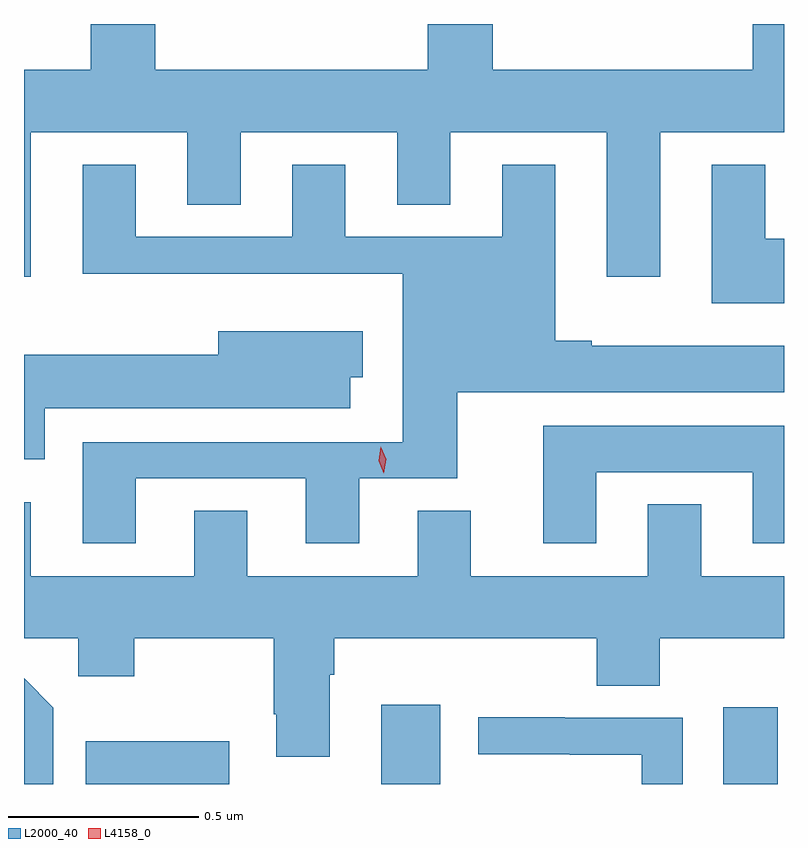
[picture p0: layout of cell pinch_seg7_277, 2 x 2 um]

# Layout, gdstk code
import gdstk
lib = gdstk.Library(unit=1e-6, precision=1e-09)
def R(c, l, rs):  # rectangles x0, y0, x1, y1
    for r in rs: c.add(gdstk.rectangle(r[:2], r[2:], *l))
def P(c, l, *ps):  # polygons
    for p in ps: c.add(gdstk.Polygon(p, *l))
L2000_40 = (2000, 40)
L4158_0 = (4158, 0)

pinch_seg7_277 = lib.new_cell('pinch_seg7_277')
R(pinch_seg7_277, L2000_40, [(801.025,1010.889,801.403,1011.001), (801.803,1010.889,801.958,1011.097), (802.703,1010.889,802.846,1011.091)])
P(pinch_seg7_277, L2000_40, [(800.881,1012.604),(801.293,1012.604),(801.293,1012.414),(801.433,1012.414),(801.433,1012.604),(801.845,1012.604),(801.845,1012.414),(801.985,1012.414),(801.985,1012.604),(802.397,1012.604),(802.397,1012.224),(802.537,1012.224),(802.537,1012.604),(802.863,1012.604),(802.863,1012.889),(802.781,1012.889),(802.781,1012.768),(802.097,1012.768),(802.097,1012.889),(801.926,1012.889),(801.926,1012.768),(801.209,1012.768),(801.209,1012.889),(801.038,1012.889),(801.038,1012.768),(800.863,1012.768),(800.863,1012.224),(800.881,1012.224)],
  [(801.157,1011.693),(801.605,1011.693),(801.605,1011.522),(801.745,1011.522),(801.745,1011.693),(802.003,1011.693),(802.003,1011.92),(802.863,1011.92),(802.863,1012.042),(802.357,1012.042),(802.357,1012.055),(802.261,1012.055),(802.261,1012.519),(802.121,1012.519),(802.121,1012.329),(801.709,1012.329),(801.709,1012.519),(801.569,1012.519),(801.569,1012.329),(801.157,1012.329),(801.157,1012.519),(801.017,1012.519),(801.017,1012.232),(801.86,1012.232),(801.86,1011.789),(801.017,1011.789),(801.017,1011.522),(801.157,1011.522)],
  [(802.863,1012.324),(802.813,1012.324),(802.813,1012.519),(802.673,1012.519),(802.673,1012.154),(802.863,1012.154)],
  [(800.917,1011.878),(801.721,1011.878),(801.721,1011.959),(801.754,1011.959),(801.754,1012.081),(801.374,1012.081),(801.374,1012.018),(800.863,1012.018),(800.863,1011.743),(800.917,1011.743)],
  [(802.369,1011.71),(802.781,1011.71),(802.781,1011.522),(802.863,1011.522),(802.863,1011.832),(802.229,1011.832),(802.229,1011.522),(802.369,1011.522)],
  [(801.667,1011.176),(801.68,1011.176),(801.68,1011.272),(802.37,1011.272),(802.37,1011.148),(802.536,1011.148),(802.536,1011.272),(802.863,1011.272),(802.863,1011.436),(802.645,1011.436),(802.645,1011.625),(802.505,1011.625),(802.505,1011.436),(802.039,1011.436),(802.039,1011.608),(801.899,1011.608),(801.899,1011.436),(801.451,1011.436),(801.451,1011.608),(801.311,1011.608),(801.311,1011.436),(800.881,1011.436),(800.881,1011.631),(800.863,1011.631),(800.863,1011.272),(801.006,1011.272),(801.006,1011.173),(801.153,1011.173),(801.153,1011.272),(801.52,1011.272),(801.52,1011.073),(801.527,1011.073),(801.527,1010.961),(801.667,1010.961)],
  [(800.94,1011.09),(800.863,1011.167),(800.863,1010.889),(800.94,1010.889)],
  [(802.596,1011.063),(802.286,1011.063),(802.286,1011.065),(802.059,1011.065),(802.059,1010.967),(802.299,1010.967),(802.299,1010.966),(802.488,1010.966),(802.488,1010.889),(802.596,1010.889)])
P(pinch_seg7_277, L4158_0, [(801.81,1011.707),(801.81,1011.707),(801.796,1011.74),(801.802,1011.776),(801.802,1011.776),(801.802,1011.776),(801.816,1011.743),(801.81,1011.707)])

lib.write_gds('pinch_seg7_277.gds')
